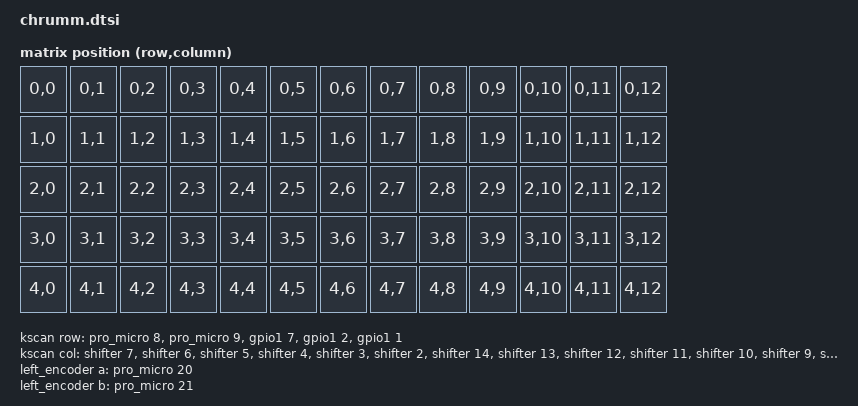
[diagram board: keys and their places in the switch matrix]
#include <dt-bindings/zmk/matrix_transform.h>

 / {
    chosen {
        zmk,kscan = &kscan;
        zmk,matrix_transform = &transform;
    };

    transform: matrix_transform_0 {
        compatible = "zmk,matrix-transform";
        rows = <5>;
        columns = <13>;

        map = <
            RC(0, 0) RC(0, 1) RC(0, 2) RC(0, 3) RC(0, 4) RC(0, 5) RC(0, 6) RC(0, 7) RC(0, 8) RC(0, 9) RC(0,10) RC(0,11) RC(0,12)
            RC(1, 0) RC(1, 1) RC(1, 2) RC(1, 3) RC(1, 4) RC(1, 5) RC(1, 6) RC(1, 7) RC(1, 8) RC(1, 9) RC(1,10) RC(1,11) RC(1,12)
            RC(2, 0) RC(2, 1) RC(2, 2) RC(2, 3) RC(2, 4) RC(2, 5) RC(2, 6) RC(2, 7) RC(2, 8) RC(2, 9) RC(2,10) RC(2,11) RC(2,12)
            RC(3, 0) RC(3, 1) RC(3, 2) RC(3, 3) RC(3, 4) RC(3, 5) RC(3, 6) RC(3, 7) RC(3, 8) RC(3, 9) RC(3,10) RC(3,11) RC(3,12)
            RC(4, 0) RC(4, 1) RC(4, 2) RC(4, 3) RC(4, 4) RC(4, 5) RC(4, 6) RC(4, 7) RC(4, 8) RC(4, 9) RC(4,10) RC(4,11) RC(4,12)
        >;
    };

    kscan: kscan {
        compatible = "zmk,kscan-gpio-matrix";
        label = "KSCAN";
        diode-direction = "col2row";

        /* Row pins (as you already had): */
        row-gpios = <&pro_micro 8 (GPIO_ACTIVE_HIGH | GPIO_PULL_DOWN)>,
                    <&pro_micro 9 (GPIO_ACTIVE_HIGH | GPIO_PULL_DOWN)>,
                    <&gpio1      7 (GPIO_ACTIVE_HIGH | GPIO_PULL_DOWN)>,
                    <&gpio1      2 (GPIO_ACTIVE_HIGH | GPIO_PULL_DOWN)>,
                    <&gpio1      1 (GPIO_ACTIVE_HIGH | GPIO_PULL_DOWN)>;

        /* Column pins via shifter on spi_595_bus */
        col-gpios = <&shifter  7 GPIO_ACTIVE_HIGH>, /* col  0 */
                    <&shifter  6 GPIO_ACTIVE_HIGH>, /* col  1 */
                    <&shifter  5 GPIO_ACTIVE_HIGH>, /* col  2 */
                    <&shifter  4 GPIO_ACTIVE_HIGH>, /* col  3 */
                    <&shifter  3 GPIO_ACTIVE_HIGH>, /* col  4 */
                    <&shifter  2 GPIO_ACTIVE_HIGH>, /* col  5 */
                    <&shifter 14 GPIO_ACTIVE_HIGH>, /* col  6 */
                    <&shifter 13 GPIO_ACTIVE_HIGH>, /* col  7 */
                    <&shifter 12 GPIO_ACTIVE_HIGH>, /* col  8 */
                    <&shifter 11 GPIO_ACTIVE_HIGH>, /* col  9 */
                    <&shifter 10 GPIO_ACTIVE_HIGH>, /* col 10 */
                    <&shifter  9 GPIO_ACTIVE_HIGH>, /* col 11 */
                    <&shifter  8 GPIO_ACTIVE_HIGH>; /* col 12 */
    };

    left_encoder: encoder_left {
        status = "okay";
        compatible = "alps,ec11";
        a-gpios = <&pro_micro 20 (GPIO_ACTIVE_HIGH | GPIO_PULL_UP)>;
        b-gpios = <&pro_micro 21 (GPIO_ACTIVE_HIGH | GPIO_PULL_UP)>;
        steps = <72>;
    };

    sensors: sensors {
        compatible = "zmk,keymap-sensors";
        sensors = <&left_encoder>;
        triggers-per-rotation = <24>;
    };
};

